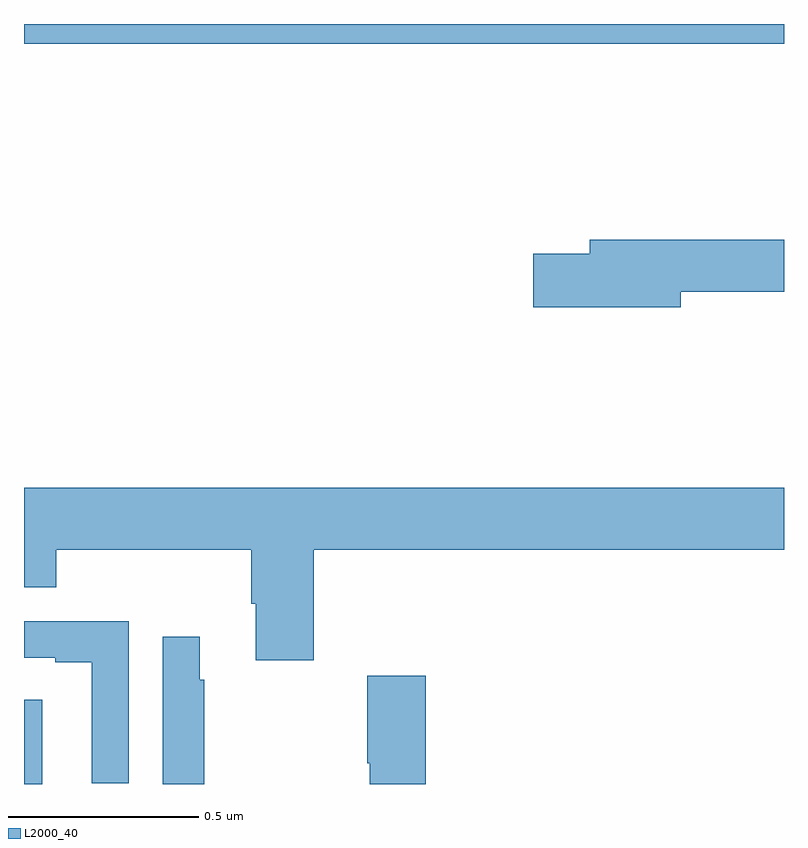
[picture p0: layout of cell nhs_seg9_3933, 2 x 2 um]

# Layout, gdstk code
import gdstk
lib = gdstk.Library(unit=1e-6, precision=1e-09)
def R(c, l, rs):  # rectangles x0, y0, x1, y1
    for r in rs: c.add(gdstk.rectangle(r[:2], r[2:], *l))
def P(c, l, *ps):  # polygons
    for p in ps: c.add(gdstk.Polygon(p, *l))
L2000_40 = (2000, 40)

nhs_seg9_3933 = lib.new_cell('nhs_seg9_3933')
R(nhs_seg9_3933, L2000_40, [(160,1166.5,160.048,1166.722), (160,1168.448,162,1168.5)])
P(nhs_seg9_3933, L2000_40, [(161.728,1167.796),(162,1167.796),(162,1167.932),(161.489,1167.932),(161.489,1167.896),(161.34,1167.896),(161.34,1167.754),(161.728,1167.754)],
  [(160.763,1167.116),(162,1167.116),(162,1167.28),(160,1167.28),(160,1167.018),(160.085,1167.018),(160.085,1167.116),(160.598,1167.116),(160.598,1166.974),(160.61,1166.974),(160.61,1166.826),(160.763,1166.826)],
  [(160.275,1166.928),(160,1166.928),(160,1166.832),(160.082,1166.832),(160.082,1166.82),(160.178,1166.82),(160.178,1166.502),(160.275,1166.502)],
  [(160.474,1166.774),(160.462,1166.774),(160.462,1166.887),(160.365,1166.887),(160.365,1166.5),(160.474,1166.5)],
  [(161.057,1166.785),(160.903,1166.785),(160.903,1166.554),(160.91,1166.554),(160.91,1166.5),(161.057,1166.5)])

lib.write_gds('nhs_seg9_3933.gds')
